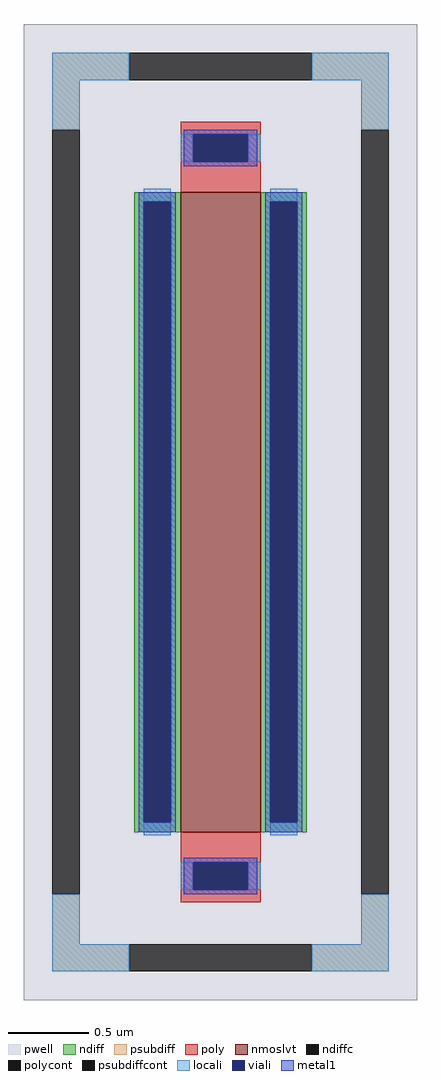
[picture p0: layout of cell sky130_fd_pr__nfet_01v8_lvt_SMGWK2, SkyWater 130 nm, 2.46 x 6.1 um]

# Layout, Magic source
magic
tech sky130A
<< pwell >>
rect -123 -305 123 305
<< nmoslvt >>
rect -25 -200 25 200
<< ndiff >>
rect -54 194 -25 200
rect -54 -194 -48 194
rect -31 -194 -25 194
rect -54 -200 -25 -194
rect 25 194 54 200
rect 25 -194 31 194
rect 48 -194 54 194
rect 25 -200 54 -194
<< ndiffc >>
rect -48 -194 -31 194
rect 31 -194 48 194
<< psubdiff >>
rect -105 270 -57 287
rect 57 270 105 287
rect -105 239 -88 270
rect 88 239 105 270
rect -105 -270 -88 -239
rect 88 -270 105 -239
rect -105 -287 -57 -270
rect 57 -287 105 -270
<< psubdiffcont >>
rect -57 270 57 287
rect -105 -239 -88 239
rect 88 -239 105 239
rect -57 -287 57 -270
<< poly >>
rect -25 236 25 244
rect -25 219 -17 236
rect 17 219 25 236
rect -25 200 25 219
rect -25 -219 25 -200
rect -25 -236 -17 -219
rect 17 -236 25 -219
rect -25 -244 25 -236
<< polycont >>
rect -17 219 17 236
rect -17 -236 17 -219
<< locali >>
rect -105 270 -57 287
rect 57 270 105 287
rect -105 239 -88 270
rect 88 239 105 270
rect -25 219 -17 236
rect 17 219 25 236
rect -48 194 -31 202
rect -48 -202 -31 -194
rect 31 194 48 202
rect 31 -202 48 -194
rect -25 -236 -17 -219
rect 17 -236 25 -219
rect -105 -270 -88 -239
rect 88 -270 105 -239
rect -105 -287 -57 -270
rect 57 -287 105 -270
<< viali >>
rect -17 219 17 236
rect -48 -194 -31 194
rect 31 -194 48 194
rect -17 -236 17 -219
<< metal1 >>
rect -23 236 23 239
rect -23 219 -17 236
rect 17 219 23 236
rect -23 216 23 219
rect -51 194 -28 200
rect -51 -194 -48 194
rect -31 -194 -28 194
rect -51 -200 -28 -194
rect 28 194 51 200
rect 28 -194 31 194
rect 48 -194 51 194
rect 28 -200 51 -194
rect -23 -219 23 -216
rect -23 -236 -17 -219
rect 17 -236 23 -219
rect -23 -239 23 -236
<< properties >>
string FIXED_BBOX -96 -278 96 278
string gencell sky130_fd_pr__nfet_01v8_lvt
string library sky130
string parameters w 4.0 l 0.5 m 1 nf 1 diffcov 100 polycov 100 guard 1 glc 1 grc 1 gtc 1 gbc 1 tbcov 100 rlcov 100 topc 1 botc 1 poverlap 0 doverlap 1 lmin 0.15 wmin 0.42 compatible {sky130_fd_pr__nfet_01v8 sky130_fd_pr__nfet_01v8_lvt  sky130_fd_bs_flash__special_sonosfet_star  sky130_fd_pr__nfet_g5v0d10v5 sky130_fd_pr__nfet_05v0_nvt  sky130_fd_pr__nfet_03v3_nvt} full_metal 1 viasrc 100 viadrn 100 viagate 100 viagb 0 viagr 0 viagl 0 viagt 0
<< end >>
